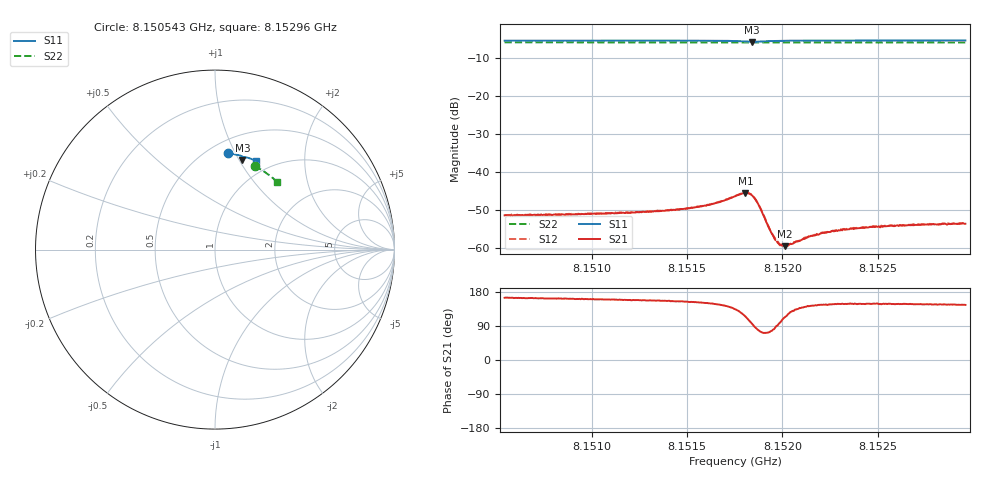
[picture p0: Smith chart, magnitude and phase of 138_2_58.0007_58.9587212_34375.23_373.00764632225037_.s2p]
#  HZ  S  RI  R  50.00
! Rohde & Schwarz Vector Network Analyzer
! Rohde-Schwarz,ZNB20-2Port,1311601062101988,3.16
! Created: UTC 3/21/2024, 12:56:24 AM
! freq[Hz]  re:S11  im:S11  re:S21  im:S21  re:S12  im:S12  re:S22  im:S22
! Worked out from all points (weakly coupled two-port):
!   401 points, 8.150543 GHz to 8.15296 GHz, reference 50 ohm
!   highest |S21| = -45.41 dB at 8.151806 GHz (marker M1); lowest = -59.5 dB at 8.152012 GHz (marker M2)
!   lowest |S11| = -5.6 dB at 8.151842 GHz (marker M3), VSWR 3.19, Z = 37.5 + j51.7 ohm
!   |S11| at or under -10 dB: nowhere
!   |S22| runs from -5.8 to -5.8 dB; largest |S21 - S12| = 0.00011
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8.1505433e9  0.0702 0.5371  -0.00261 0.000742  -0.00263 0.000792  0.2207 0.4652
8.1509481e9  0.0988 0.5332  -0.00268 0.000888  -0.00267 0.000956  0.2438 0.453
8.1513529e9  0.1277 0.5274  -0.00283 0.0012  -0.00283 0.00127  0.2663 0.4395
8.1514798e9  0.1371 0.5249  -0.00297 0.00141  -0.00299 0.00149  0.2733 0.435
8.1516128e9  0.1478 0.5212  -0.0032 0.00187  -0.0032 0.00192  0.2803 0.4303
8.1516792e9  0.1537 0.518  -0.0034 0.00235  -0.00339 0.00243  0.2838 0.4278
8.1517517e9  0.1596 0.5114  -0.00337 0.00347  -0.00335 0.00353  0.2876 0.425
8.1518061e9  0.1593 0.5028  -0.00227 0.00486  -0.00221 0.00494  0.2902 0.4226
8.1518242e9  0.1566 0.5005  -0.00141 0.00509  -0.00133 0.00515  0.2909 0.4221
8.1518424e9  0.1528 0.5  -0.000433 0.00492  -0.000334 0.00494  0.2916 0.4214
8.1518726e9  0.1485 0.5039  0.00072 0.00378  0.00077 0.00379  0.293 0.4204
8.151939e9  0.1522 0.5132  0.000401 0.00161  0.000403 0.0016  0.2966 0.4185
8.1519632e9  0.1551 0.5147  8.97e-05 0.00128  9.61e-05 0.00134  0.2979 0.4175
8.1519753e9  0.1564 0.5152  -2.78e-05 0.00118  -1.31e-05 0.00126  0.2986 0.4171
8.1519934e9  0.1584 0.5155  -0.000233 0.0011  -0.000261 0.00107  0.2997 0.4164
8.1520115e9  0.1604 0.5158  -0.000407 0.000984  -0.000418 0.00101  0.3005 0.4155
8.1520297e9  0.1623 0.5158  -0.000558 0.000934  -0.000548 0.000942  0.3015 0.415
8.1521565e9  0.1736 0.5143  -0.00117 0.000863  -0.00116 0.000875  0.3079 0.41
8.1522109e9  0.1778 0.5132  -0.00132 0.0009  -0.00132 0.000921  0.3108 0.4077
8.1523076e9  0.185 0.5113  -0.00148 0.000935  -0.00148 0.000965  0.3157 0.4041
8.1525614e9  0.2027 0.5053  -0.00168 0.00103  -0.00166 0.00108  0.3281 0.3934
8.1529602e9  0.229 0.4949  -0.00173 0.00119  -0.00173 0.0012  0.3467 0.3763
